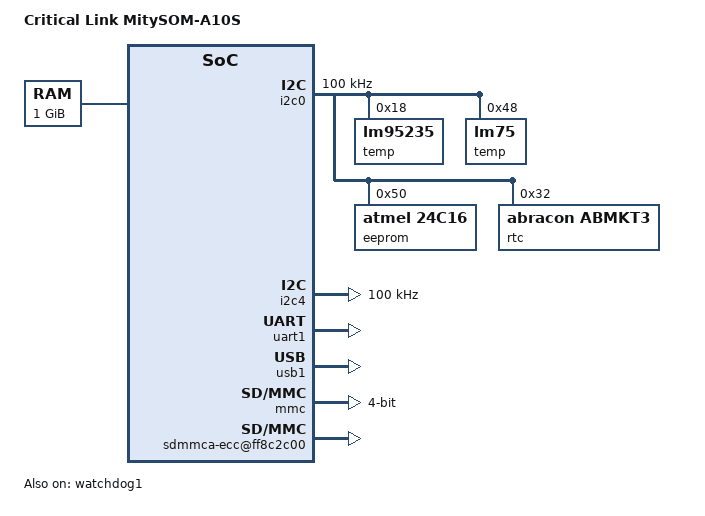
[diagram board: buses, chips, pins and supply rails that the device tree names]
/*
 * Copyright (C) 2018 Critical Link, LLC
 *
 * Author: Daniel Vincelette <dvincelette@criticallink.com>
 *
 * Based on socfpga_arria10_socdk.dtsi
 * Copyright (C) 2015 Altera Corporation <www.altera.com>
 *
 * This program is free software; you can redistribute it and/or modify
 * it under the terms of the GNU General Public License as published by
 * the Free Software Foundation; either version 2 of the License, or
 * (at your option) any later version.
 *
 * This program is distributed in the hope that it will be useful,
 * but WITHOUT ANY WARRANTY; without even the implied warranty of
 * MERCHANTABILITY or FITNESS FOR A PARTICULAR PURPOSE.  See the
 * GNU General Public License for more details.
 *
 */
#include "socfpga_arria10.dtsi"
#include <dt-bindings/gpio/gpio.h>

/ {
	model = "Critical Link MitySOM-A10S";
	compatible = "altr,socfpga-arria10", "altr,socfpga";

	aliases {
		serial0 = &uart1;
	};

	chosen {
		bootargs = "earlyprintk";
		stdout-path = "serial0:115200n8";
	};

	memory@0 {
		name = "memory";
		device_type = "memory";
		reg = <0x0 0x40000000>;
	};

	soc {
		clkmgr@ffd04000 {
			clocks {
				osc1 {
					/* 50Mhz ARM Reference Clock */
					clock-frequency = <50000000>;
				};
			};
		};
	};
};


&i2c0 {
	status = "okay";

	/* start at 100 KHz */
	clock-frequency = <100000>;
	/* TODO: Verify if skews are needed */
	/* i2c-sda-falling-time-ns = <6000>; */
	/* i2c-scl-falling-time-ns = <6000>; */

	/* On-board Temp Sensor */
	temp@18 {
		compatible = "lm95235";
		reg = <0x18>;
	};

	/* On-board Temp Sensor (AT30TS750A, which is backwards support for lm75) */
	temp@48 {
		compatible = "lm75";
		reg = <0x48>;
	};

	/* Factory config EEPROM */
	eeprom@50 {
		compatible = "atmel,24c16";
		reg = <0x50>;
		pagesize = <16>;
	};

	/* On-board Power Monitor EM2140 */
	pwmon@40 {
		compatible = "intel,em21xx";
		reg = <0x40>;
	};

	/* On-board Abracon RTC */
	rtc@32 {
		compatible = "abracon,abmkt3";
		reg = <0x32>;
		temp-interval = <0>;
	};

};

&i2c4 {
	status = "okay";
	clock-frequency = <100000>;
};

/* Console port */
&uart1 {
	status = "okay";
};

/* On-board GPIO Controller 0 */
&gpio0 {
	status = "okay";
};

/* On-board USB 2.0 OTG PHY */
&usb1 {
	status = "okay";
};
&usbphy0 {
	reset-gpios = <&porta 9 GPIO_ACTIVE_HIGH>; 
};


/* On-board watchdog */
&watchdog1 {
	status = "okay";
};



/* On-board micro-SD card */
&mmc {
	status = "okay";
	num-slots = <1>;
	cap-sd-highspeed;
	broken-cd;
	bus-width = <4>;
};

/* ECC for MMC card DMAs */
&eccmgr {
	sdmmca-ecc@ff8c2c00 {
		compatible = "altr,socfpga-sdmmc-ecc";
		reg = <0xff8c2c00 0x400>;
		altr,ecc-parent = <&mmc>;
		interrupts = <15 IRQ_TYPE_LEVEL_HIGH>,
			     <47 IRQ_TYPE_LEVEL_HIGH>,
			     <16 IRQ_TYPE_LEVEL_HIGH>,
			     <48 IRQ_TYPE_LEVEL_HIGH>;
	};
};

